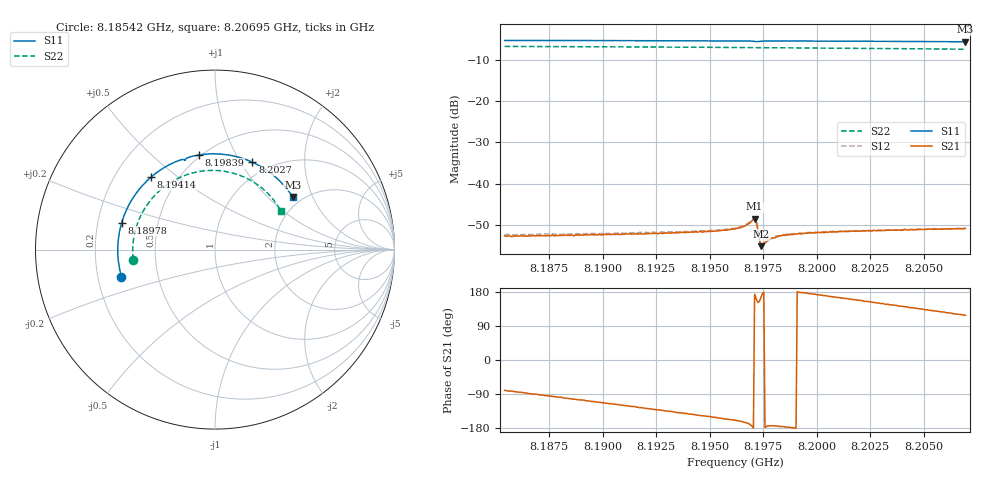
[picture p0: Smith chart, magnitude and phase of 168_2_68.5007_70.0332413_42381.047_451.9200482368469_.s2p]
#  HZ  S  RI  R  50.00
! Rohde & Schwarz Vector Network Analyzer
! Rohde-Schwarz,ZNB20-2Port,1311601062101988,3.16
! Created: UTC 3/20/2024, 4:56:05 PM
! freq[Hz]  re:S11  im:S11  re:S21  im:S21  re:S12  im:S12  re:S22  im:S22
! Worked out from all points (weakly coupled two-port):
!   401 points, 8.18542 GHz to 8.20695 GHz, reference 50 ohm
!   highest |S21| = -48.53 dB at 8.1971 GHz (marker M1); lowest = -55.2 dB at 8.19742 GHz (marker M2)
!   lowest |S11| = -5.6 dB at 8.20695 GHz (marker M3), VSWR 3.19, Z = 89.3 + j72 ohm
!   |S11| at or under -10 dB: nowhere
!   |S22| runs from -7.4 to -6.8 dB; largest |S21 - S12| = 0.0002
!   S11 on the Smith chart (normalised r, x): 8.18542 GHz: 0.30, -0.13; 8.18978 GHz: 0.30, +0.13; 8.19414 GHz: 0.35, +0.40; 8.19839 GHz: 0.49, +0.72; 8.2027 GHz: 0.83, +1.13; 8.20695 GHz: 1.79, +1.44
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8.185422e9  -0.5214 -0.1505  0.000403 -0.00229  0.000351 -0.00235  -0.456 -0.0559
8.187252e9  -0.5415 -0.0247  -0.000124 -0.00234  -0.000172 -0.00242  -0.4553 0.0452
8.189028e9  -0.5323 0.0991  -0.000621 -0.00229  -0.000756 -0.00234  -0.4334 0.141
8.189781e9  -0.5198 0.1502  -0.000854 -0.00223  -0.000953 -0.00225  -0.4178 0.1796
8.192633e9  -0.4288 0.3274  -0.00164 -0.00186  -0.00176 -0.00187  -0.3285 0.3092
8.19414e9  -0.356 0.4041  -0.00207 -0.00156  -0.00215 -0.00152  -0.2643 0.3632
8.195592e9  -0.2724 0.4634  -0.00245 -0.00118  -0.00251 -0.00112  -0.1938 0.4028
8.196184e9  -0.2346 0.4827  -0.00264 -0.00101  -0.00273 -0.000919  -0.163 0.4152
8.196561e9  -0.2095 0.4933  -0.00286 -0.000875  -0.00298 -0.000759  -0.143 0.422
8.196991e9  -0.1771 0.5016  -0.00354 -0.000296  -0.00363 -0.000124  -0.1196 0.4283
8.197099e9  -0.1689 0.5001  -0.00372 0.000416  -0.00378 0.00056  -0.1138 0.4295
8.197153e9  -0.1666 0.4981  -0.00352 0.000913  -0.00352 0.00112  -0.1108 0.4302
8.197314e9  -0.1656 0.5015  -0.0019 0.000928  -0.00189 0.00101  -0.1023 0.4322
8.197422e9  -0.1596 0.5076  -0.00171 0.000312  -0.00174 0.000359  -0.0964 0.4335
8.19753e9  -0.1518 0.5118  -0.00179 3.59e-05  -0.00185 7.12e-05  -0.0903 0.4346
8.19796e9  -0.1205 0.5213  -0.00217 -0.000247  -0.00223 -0.00015  -0.0664 0.4382
8.198391e9  -0.0899 0.5273  -0.00234 -0.000175  -0.00237 -4.83e-05  -0.0421 0.4404
8.19979e9  0.00918 0.5333  -0.00252 0.000241  -0.00255 0.000357  0.037 0.4383
8.202695e9  0.2082 0.4871  -0.00239 0.00127  -0.00234 0.00136  0.1941 0.3884
8.203395e9  0.2523 0.4647  -0.00225 0.00153  -0.00224 0.00159  0.2284 0.3674
8.205386e9  0.3641 0.3791  -0.00182 0.00212  -0.00175 0.00221  0.3146 0.291
8.206946e9  0.4333 0.2927  -0.00134 0.00252  -0.00125 0.00257  0.3664 0.2155
